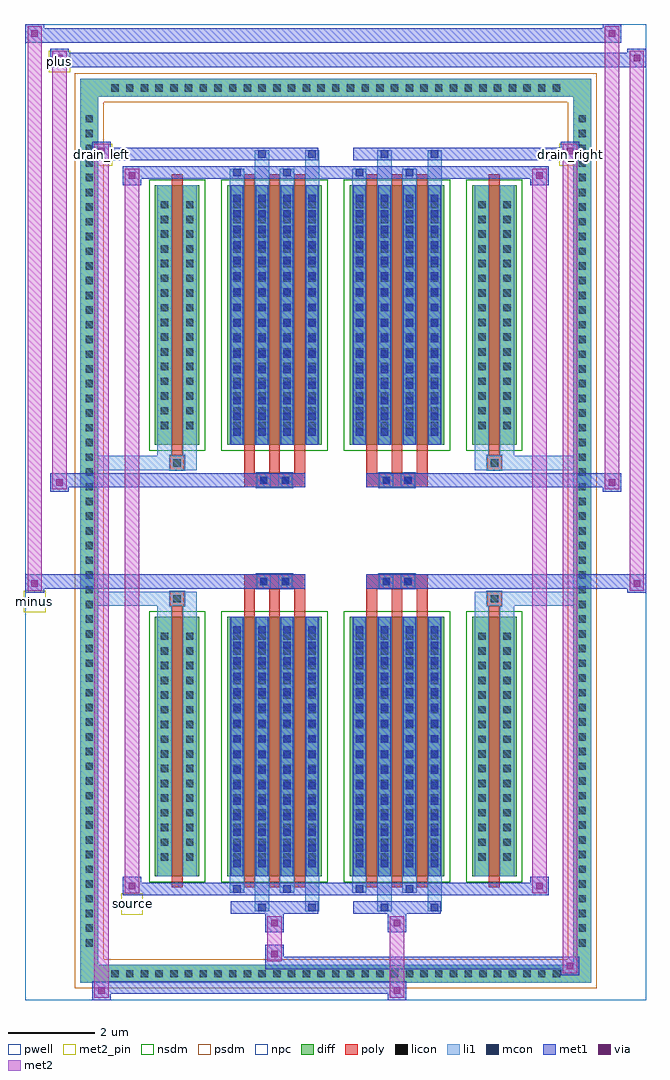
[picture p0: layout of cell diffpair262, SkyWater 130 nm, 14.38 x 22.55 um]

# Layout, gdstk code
import gdstk
lib = gdstk.Library(unit=1e-6, precision=5e-09)
def R(c, l, rs):  # rectangles x0, y0, x1, y1
    for r in rs: c.add(gdstk.rectangle(r[:2], r[2:], *l))
def A(c, l, x, y, w, h, nx, ny, dx, dy):  # array of equal rectangles
    R(c, l, [(x+i*dx, y+j*dy, x+i*dx+w, y+j*dy+h) for i in range(nx) for j in range(ny)])
def P(c, l, *ps):  # polygons
    for p in ps: c.add(gdstk.Polygon(p, *l))
pwell = (64, 44)
diff = (65, 20)
poly = (66, 20)
licon = (66, 44)
li1 = (67, 20)
mcon = (67, 44)
met1 = (68, 20)
via = (68, 44)
met2_pin = (69, 16)
met2 = (69, 20)
nsdm = (93, 44)
psdm = (94, 20)
npc = (95, 20)

diffpair262 = lib.new_cell('diffpair262')
R(diffpair262, pwell, [(-7.17,-10.84,7.17,11.71), (-4.49,-9.03,-0.01,-0.805), (0.01,-9.03,4.49,-0.805), (-4.49,0.805,-0.01,9.03), (0.01,0.805,4.49,9.03)])
A(diffpair262, diff, -5.305, -10.44, 0.41, 0.41, 31, 2, 0.34, 20.47)
A(diffpair262, diff, -5.9, -9.725, 0.41, 0.41, 1, 57, 0, 0.34)
A(diffpair262, diff, 5.49, -9.725, 0.41, 0.41, 1, 57, 0, 0.34)
R(diffpair262, diff, [(-5.305,-10.44,5.305,-10.03), (-5.9,-9.725,-5.49,9.725), (5.49,-9.725,5.9,9.725), (-4.18,-7.985,-3.15,-1.985), (-2.51,-7.985,-0.32,-1.985), (0.32,-7.985,2.51,-1.985), (3.15,-7.985,4.18,-1.985), (-4.18,1.985,-3.15,7.985), (-2.51,1.985,-0.32,7.985), (0.32,1.985,2.51,7.985), (3.15,1.985,4.18,7.985), (-5.305,10.03,5.305,10.44)])
P(diffpair262, diff, [(5.9,10.44),(-5.9,10.44),(-5.9,-10.03),(-5.49,-10.03),(-5.49,10.03),(5.49,10.03),(5.49,-10.03),(-5.49,-10.03),(-5.9,-10.03),(-5.9,-10.44),(5.9,-10.44)])
A(diffpair262, poly, -2.12, -8.235, 0.25, 6.5, 3, 2, 0.58, 9.97)
A(diffpair262, poly, 0.71, -8.235, 0.25, 6.5, 3, 2, 0.58, 9.97)
A(diffpair262, poly, -2.12, -1.735, 0.25, 0.4, 3, 2, 0.58, 3.07)
A(diffpair262, poly, 0.71, -1.735, 0.25, 0.4, 3, 2, 0.58, 3.07)
R(diffpair262, poly, [(-3.79,-8.235,-3.54,-1.735), (3.54,-8.235,3.79,-1.735), (-3.83,-1.735,-3.5,-1.405), (-3.83,-1.735,-3.5,-1.405), (3.5,-1.735,3.83,-1.405), (3.5,-1.735,3.83,-1.405), (-2.12,-1.335,-0.71,-1.005), (-1.83,-1.335,-1.5,-1.005), (-1.33,-1.335,-1,-1.005), (0.71,-1.335,2.12,-1.005), (1,-1.335,1.33,-1.005), (1.5,-1.335,1.83,-1.005), (-2.12,1.005,-0.71,1.335), (-1.83,1.005,-1.5,1.335), (-1.33,1.005,-1,1.335), (0.71,1.005,2.12,1.335), (1,1.005,1.33,1.335), (1.5,1.005,1.83,1.335), (-3.83,1.405,-3.5,1.735), (-3.83,1.405,-3.5,1.735), (3.5,1.405,3.83,1.735), (3.5,1.405,3.83,1.735), (-3.79,1.735,-3.54,8.235), (3.54,1.735,3.79,8.235)])
A(diffpair262, licon, -5.185, -10.32, 0.17, 0.17, 31, 2, 0.34, 20.47)
A(diffpair262, licon, -5.78, -9.605, 0.17, 0.17, 1, 57, 0, 0.34)
A(diffpair262, licon, 5.61, -9.605, 0.17, 0.17, 1, 57, 0, 0.34)
A(diffpair262, licon, -4.04, -7.62, 0.17, 0.17, 1, 16, 0, 0.34)
A(diffpair262, licon, -3.46, -7.62, 0.17, 0.17, 1, 16, 0, 0.34)
A(diffpair262, licon, -2.37, -7.62, 0.17, 0.17, 4, 16, 0.58, 0.34)
A(diffpair262, licon, 0.46, -7.62, 0.17, 0.17, 4, 16, 0.58, 0.34)
A(diffpair262, licon, 3.29, -7.62, 0.17, 0.17, 1, 16, 0, 0.34)
A(diffpair262, licon, 3.87, -7.62, 0.17, 0.17, 1, 16, 0, 0.34)
A(diffpair262, licon, -4.04, 2.35, 0.17, 0.17, 1, 16, 0, 0.34)
A(diffpair262, licon, -3.46, 2.35, 0.17, 0.17, 1, 16, 0, 0.34)
A(diffpair262, licon, -2.37, 2.35, 0.17, 0.17, 4, 16, 0.58, 0.34)
A(diffpair262, licon, 0.46, 2.35, 0.17, 0.17, 4, 16, 0.58, 0.34)
A(diffpair262, licon, 3.29, 2.35, 0.17, 0.17, 1, 16, 0, 0.34)
A(diffpair262, licon, 3.87, 2.35, 0.17, 0.17, 1, 16, 0, 0.34)
R(diffpair262, licon, [(-3.75,-1.655,-3.58,-1.485), (3.58,-1.655,3.75,-1.485), (-1.75,-1.255,-1.58,-1.085), (-1.25,-1.255,-1.08,-1.085), (1.08,-1.255,1.25,-1.085), (1.58,-1.255,1.75,-1.085), (-1.75,1.085,-1.58,1.255), (-1.25,1.085,-1.08,1.255), (1.08,1.085,1.25,1.255), (1.58,1.085,1.75,1.255), (-3.75,1.485,-3.58,1.655), (3.58,1.485,3.75,1.655)])
A(diffpair262, li1, -5.265, -10.4, 0.33, 0.33, 31, 2, 0.34, 20.47)
A(diffpair262, li1, -5.86, -9.685, 0.33, 0.33, 1, 57, 0, 0.34)
A(diffpair262, li1, 5.53, -9.685, 0.33, 0.33, 1, 57, 0, 0.34)
A(diffpair262, li1, -2.45, -7.985, 0.33, 6, 4, 2, 0.58, 9.97)
A(diffpair262, li1, 0.38, -7.985, 0.33, 6, 4, 2, 0.58, 9.97)
A(diffpair262, li1, -2.37, -7.77, 0.17, 0.17, 4, 16, 0.58, 0.36)
A(diffpair262, li1, -2.37, -7.77, 0.17, 5.57, 4, 2, 0.58, 9.97)
A(diffpair262, li1, 0.46, -7.77, 0.17, 0.17, 4, 16, 0.58, 0.36)
A(diffpair262, li1, 0.46, -7.77, 0.17, 5.57, 4, 2, 0.58, 9.97)
A(diffpair262, li1, -4.12, -7.7, 0.33, 0.33, 1, 16, 0, 0.34)
A(diffpair262, li1, -3.54, -7.7, 0.33, 0.33, 1, 16, 0, 0.34)
A(diffpair262, li1, -2.45, -7.7, 0.33, 0.33, 4, 16, 0.58, 0.34)
A(diffpair262, li1, 0.38, -7.7, 0.33, 0.33, 4, 16, 0.58, 0.34)
A(diffpair262, li1, 3.21, -7.7, 0.33, 0.33, 1, 16, 0, 0.34)
A(diffpair262, li1, 3.79, -7.7, 0.33, 0.33, 1, 16, 0, 0.34)
A(diffpair262, li1, -2.37, 2.2, 0.17, 0.17, 4, 16, 0.58, 0.36)
A(diffpair262, li1, 0.46, 2.2, 0.17, 0.17, 4, 16, 0.58, 0.36)
A(diffpair262, li1, -4.12, 2.27, 0.33, 0.33, 1, 16, 0, 0.34)
A(diffpair262, li1, -3.54, 2.27, 0.33, 0.33, 1, 16, 0, 0.34)
A(diffpair262, li1, -2.45, 2.27, 0.33, 0.33, 4, 16, 0.58, 0.34)
A(diffpair262, li1, 0.38, 2.27, 0.33, 0.33, 4, 16, 0.58, 0.34)
A(diffpair262, li1, 3.21, 2.27, 0.33, 0.33, 1, 16, 0, 0.34)
A(diffpair262, li1, 3.79, 2.27, 0.33, 0.33, 1, 16, 0, 0.34)
R(diffpair262, li1, [(-5.9,-10.44,-5.49,-10.03), (-5.9,-10.44,-5.49,-10.03), (-5.49,-10.44,5.49,-10.03), (5.49,-10.44,5.9,-10.03), (5.49,-10.44,5.9,-10.03), (-5.9,-10.03,-5.49,10.03), (5.49,-10.03,5.9,10.03), (-1.87,-8.79,-1.54,-7.985), (-1.79,-8.79,-1.62,-8.62), (-0.71,-8.79,-0.38,-7.985), (-0.63,-8.79,-0.46,-8.62), (0.96,-8.79,1.29,-7.985), (1.04,-8.79,1.21,-8.62), (2.12,-8.79,2.45,-7.985), (2.2,-8.79,2.37,-8.62), (-2.45,-8.36,-2.12,-7.985), (-2.37,-8.36,-2.2,-8.19), (-1.29,-8.36,-0.96,-7.985), (-1.21,-8.36,-1.04,-8.19), (0.38,-8.36,0.71,-7.985), (0.46,-8.36,0.63,-8.19), (1.54,-8.36,1.87,-7.985), (1.62,-8.36,1.79,-8.19), (-4.12,-7.985,-3.79,-1.985), (-3.54,-7.985,-3.21,-1.985), (3.21,-7.985,3.54,-1.985), (3.79,-7.985,4.12,-1.985), (-4.12,-1.985,-3.79,-1.405), (-3.54,-1.985,-3.21,-1.405), (3.21,-1.985,3.54,-1.405), (3.79,-1.985,4.12,-1.405), (-5.9,-1.735,-3.83,-1.405), (-4.12,-1.735,-3.83,-1.405), (-3.83,-1.735,-3.5,-1.405), (-3.5,-1.735,-3.21,-1.405), (3.21,-1.735,3.5,-1.405), (3.5,-1.735,3.83,-1.405), (3.5,-1.735,5.9,-1.405), (3.83,-1.735,4.12,-1.405), (-1.83,-1.335,-1.5,-1.005), (-1.33,-1.335,-1,-1.005), (1,-1.335,1.33,-1.005), (1.5,-1.335,1.83,-1.005), (-1.83,1.005,-1.5,1.335), (-1.33,1.005,-1,1.335), (1,1.005,1.33,1.335), (1.5,1.005,1.83,1.335), (-5.9,1.405,-3.83,1.735), (-4.12,1.405,-3.83,1.735), (-4.12,1.405,-3.79,1.985), (-3.83,1.405,-3.5,1.735), (-3.54,1.405,-3.21,1.985), (-3.5,1.405,-3.21,1.735), (3.21,1.405,3.5,1.735), (3.21,1.405,3.54,1.985), (3.5,1.405,3.83,1.735), (3.5,1.405,5.9,1.735), (3.79,1.405,4.12,1.985), (3.83,1.405,4.12,1.735), (-4.12,1.985,-3.79,7.985), (-3.54,1.985,-3.21,7.985), (3.21,1.985,3.54,7.985), (3.79,1.985,4.12,7.985), (-2.45,7.985,-2.12,8.36), (-1.87,7.985,-1.54,8.79), (-1.29,7.985,-0.96,8.36), (-0.71,7.985,-0.38,8.79), (0.38,7.985,0.71,8.36), (0.96,7.985,1.29,8.79), (1.54,7.985,1.87,8.36), (2.12,7.985,2.45,8.79), (-2.37,8.19,-2.2,8.36), (-1.21,8.19,-1.04,8.36), (0.46,8.19,0.63,8.36), (1.62,8.19,1.79,8.36), (-1.79,8.62,-1.62,8.79), (-0.63,8.62,-0.46,8.79), (1.04,8.62,1.21,8.79), (2.2,8.62,2.37,8.79), (-5.9,10.03,-5.49,10.44), (-5.9,10.03,-5.49,10.44), (-5.49,10.03,5.49,10.44), (5.49,10.03,5.9,10.44), (5.49,10.03,5.9,10.44)])
A(diffpair262, mcon, -2.37, -7.77, 0.17, 0.17, 4, 16, 0.58, 0.36)
A(diffpair262, mcon, 0.46, -7.77, 0.17, 0.17, 4, 16, 0.58, 0.36)
A(diffpair262, mcon, -2.37, 2.2, 0.17, 0.17, 4, 16, 0.58, 0.36)
A(diffpair262, mcon, 0.46, 2.2, 0.17, 0.17, 4, 16, 0.58, 0.36)
R(diffpair262, mcon, [(-1.79,-8.79,-1.62,-8.62), (-0.63,-8.79,-0.46,-8.62), (1.04,-8.79,1.21,-8.62), (2.2,-8.79,2.37,-8.62), (-2.37,-8.36,-2.2,-8.19), (-1.21,-8.36,-1.04,-8.19), (0.46,-8.36,0.63,-8.19), (1.62,-8.36,1.79,-8.19), (-1.75,-1.255,-1.58,-1.085), (-1.25,-1.255,-1.08,-1.085), (1.08,-1.255,1.25,-1.085), (1.58,-1.255,1.75,-1.085), (-1.75,1.085,-1.58,1.255), (-1.25,1.085,-1.08,1.255), (1.08,1.085,1.25,1.255), (1.58,1.085,1.75,1.255), (-2.37,8.19,-2.2,8.36), (-1.21,8.19,-1.04,8.36), (0.46,8.19,0.63,8.36), (1.62,8.19,1.79,8.36), (-1.79,8.62,-1.62,8.79), (-0.63,8.62,-0.46,8.79), (1.04,8.62,1.21,8.79), (2.2,8.62,2.37,8.79)])
A(diffpair262, met1, -2.43, -7.985, 0.29, 6, 4, 2, 0.58, 9.97)
A(diffpair262, met1, 0.4, -7.985, 0.29, 6, 4, 2, 0.58, 9.97)
A(diffpair262, met1, -2.43, -7.83, 0.29, 0.29, 4, 16, 0.58, 0.36)
A(diffpair262, met1, 0.4, -7.83, 0.29, 0.29, 4, 16, 0.58, 0.36)
A(diffpair262, met1, -2.43, 2.14, 0.29, 0.29, 4, 16, 0.58, 0.36)
A(diffpair262, met1, 0.4, 2.14, 0.29, 0.29, 4, 16, 0.58, 0.36)
R(diffpair262, met1, [(-5.63,-10.84,-5.2,-10.41), (1.2,-10.84,1.63,-10.41), (-5.63,-10.7,1.63,-10.41), (5.2,-10.27,5.63,-9.84), (-1.63,-10.13,5.63,-9.84), (-1.63,-9.99,-1.2,-9.56), (-1.63,-9.28,-1.2,-8.85), (1.2,-9.28,1.63,-8.85), (-2.43,-8.85,-0.4,-8.56), (-1.85,-8.85,-1.56,-8.56), (-0.69,-8.85,-0.4,-8.56), (0.4,-8.85,2.43,-8.56), (0.98,-8.85,1.27,-8.56), (2.14,-8.85,2.43,-8.56), (-4.92,-8.42,-4.49,-7.99), (-4.92,-8.42,-2.43,-8.13), (-2.43,-8.42,-2.14,-8.13), (-2.43,-8.42,-0.4,-8.13), (-1.27,-8.42,-0.98,-8.13), (-0.4,-8.42,0.4,-8.13), (0.4,-8.42,0.69,-8.13), (0.4,-8.42,2.43,-8.13), (1.56,-8.42,1.85,-8.13), (2.43,-8.42,4.92,-8.13), (4.49,-8.42,4.92,-7.99), (-7.17,-1.435,-6.74,-1.005), (6.74,-1.435,7.17,-1.005), (-7.17,-1.335,-0.71,-1.005), (-2.12,-1.335,-0.71,-1.005), (0.71,-1.335,2.12,-1.005), (0.71,-1.335,7.17,-1.005), (-1.81,-1.315,-1.52,-1.025), (-1.31,-1.315,-1.02,-1.025), (1.02,-1.315,1.31,-1.025), (1.52,-1.315,1.81,-1.025), (-6.6,0.905,-6.17,1.335), (6.17,0.905,6.6,1.335), (-6.6,1.005,-2.12,1.335), (-2.12,1.005,-0.71,1.335), (0.71,1.005,2.12,1.335), (2.12,1.005,6.6,1.335), (-1.81,1.025,-1.52,1.315), (-1.31,1.025,-1.02,1.315), (1.02,1.025,1.31,1.315), (1.52,1.025,1.81,1.315), (-4.92,7.99,-4.49,8.42), (4.49,7.99,4.92,8.42), (-4.92,8.13,-2.43,8.42), (-2.43,8.13,-2.14,8.42), (-2.43,8.13,-0.4,8.42), (-1.27,8.13,-0.98,8.42), (-0.4,8.13,0.4,8.42), (0.4,8.13,0.69,8.42), (0.4,8.13,2.43,8.42), (1.56,8.13,1.85,8.42), (2.43,8.13,4.92,8.42), (-5.63,8.56,-5.2,8.99), (-5.63,8.56,-2.43,8.85), (-2.43,8.56,-0.4,8.85), (-1.85,8.56,-1.56,8.85), (-0.69,8.56,-0.4,8.85), (0.4,8.56,2.43,8.85), (0.98,8.56,1.27,8.85), (2.14,8.56,2.43,8.85), (2.43,8.56,5.63,8.85), (5.2,8.56,5.63,8.99), (-6.6,10.71,-6.17,11.14), (-6.6,10.71,-4.49,11.04), (-4.49,10.71,4.49,11.04), (4.49,10.71,7.17,11.04), (6.74,10.71,7.17,11.14), (-7.17,11.28,-6.74,11.71), (-7.17,11.28,-4.49,11.61), (-4.49,11.28,4.49,11.61), (4.49,11.28,6.6,11.61), (6.17,11.28,6.6,11.71)])
R(diffpair262, via, [(-5.49,-10.7,-5.34,-10.55), (1.34,-10.7,1.49,-10.55), (5.34,-10.13,5.49,-9.98), (-1.49,-9.85,-1.34,-9.7), (-1.49,-9.14,-1.34,-8.99), (1.34,-9.14,1.49,-8.99), (-4.78,-8.28,-4.63,-8.13), (4.63,-8.28,4.78,-8.13), (-7.03,-1.295,-6.88,-1.145), (6.88,-1.295,7.03,-1.145), (-6.46,1.045,-6.31,1.195), (6.31,1.045,6.46,1.195), (-4.78,8.13,-4.63,8.28), (4.63,8.13,4.78,8.28), (-5.49,8.7,-5.34,8.85), (5.34,8.7,5.49,8.85), (-6.46,10.85,-6.31,11), (6.88,10.85,7.03,11), (-7.03,11.42,-6.88,11.57), (6.31,11.42,6.46,11.57)])
R(diffpair262, met2_pin, [(-4.955,-8.87,-4.455,-8.37), (-7.205,-1.885,-6.705,-1.385), (-5.665,8.44,-5.165,8.94), (5.165,8.44,5.665,8.94), (-6.635,10.59,-6.135,11.09)])
R(diffpair262, met2, [(-5.58,-10.79,-5.25,-10.46), (-5.58,-10.79,-5.25,8.94), (1.25,-10.79,1.58,-10.46), (1.25,-10.46,1.58,-9.23), (5.25,-10.22,5.58,-9.89), (5.25,-10.22,5.58,8.94), (-1.58,-9.94,-1.25,-9.61), (-1.58,-9.61,-1.25,-9.23), (-1.58,-9.23,-1.25,-8.9), (1.25,-9.23,1.58,-8.9), (-4.87,-8.37,-4.54,-8.04), (-4.87,-8.37,-4.54,8.37), (4.54,-8.37,4.87,-8.04), (4.54,-8.37,4.87,8.37), (-7.12,-1.385,-6.79,-1.055), (-7.12,-1.385,-6.79,11.66), (6.79,-1.385,7.12,-1.055), (6.79,-1.385,7.12,11.09), (-6.55,0.955,-6.22,1.285), (-6.55,0.955,-6.22,11.09), (6.22,0.955,6.55,1.285), (6.22,0.955,6.55,11.66), (-4.87,8.04,-4.54,8.37), (4.54,8.04,4.87,8.37), (-5.58,8.61,-5.25,8.94), (5.25,8.61,5.58,8.94), (-6.55,10.76,-6.22,11.09), (6.79,10.76,7.12,11.09), (-7.12,11.33,-6.79,11.66), (6.22,11.33,6.55,11.66)])
P(diffpair262, met2, [(7.12,-1.385),(7.12,-1.385),(7.12,-1.055),(7.12,-1.055)],
  [(7.12,10.76),(7.12,10.76),(7.12,11.09),(7.12,11.09)],
  [(-6.79,-1.385),(-6.79,-1.385),(-6.79,-1.055),(-6.79,-1.055)],
  [(-6.79,11.33),(-6.79,11.33),(-6.79,11.66),(-6.79,11.66)],
  [(6.55,0.955),(6.55,0.955),(6.55,1.285),(6.55,1.285)],
  [(6.55,11.33),(6.55,11.33),(6.55,11.66),(6.55,11.66)],
  [(-6.22,0.955),(-6.22,0.955),(-6.22,1.285),(-6.22,1.285)],
  [(-6.22,10.76),(-6.22,10.76),(-6.22,11.09),(-6.22,11.09)],
  [(-5.25,-10.79),(-5.25,-10.79),(-5.25,-10.46),(-5.25,-10.46)],
  [(-5.25,8.61),(-5.25,8.61),(-5.25,8.94),(-5.25,8.94)],
  [(5.58,-10.22),(5.58,-10.22),(5.58,-9.89),(5.58,-9.89)],
  [(5.58,8.61),(5.58,8.61),(5.58,8.94),(5.58,8.94)],
  [(-4.54,-8.37),(-4.54,-8.37),(-4.54,-8.04),(-4.54,-8.04)],
  [(-4.54,8.04),(-4.54,8.04),(-4.54,8.37),(-4.54,8.37)],
  [(4.87,-8.37),(4.87,-8.37),(4.87,-8.04),(4.87,-8.04)],
  [(4.87,8.04),(4.87,8.04),(4.87,8.37),(4.87,8.37)])
R(diffpair262, nsdm, [(-4.31,-8.115,-3.02,-1.855), (-2.64,-8.115,-0.19,-1.855), (0.19,-8.115,2.64,-1.855), (3.02,-8.115,4.31,-1.855), (-4.31,1.855,-3.02,8.115), (-2.64,1.855,-0.19,8.115), (0.19,1.855,2.64,8.115), (3.02,1.855,4.31,8.115)])
P(diffpair262, psdm, [(6.03,10.57),(-6.03,10.57),(-6.03,-9.9),(-5.36,-9.9),(-5.36,9.9),(5.36,9.9),(5.36,-9.9),(-5.36,-9.9),(-6.03,-9.9),(-6.03,-10.57),(6.03,-10.57)])
R(diffpair262, npc, [(-3.85,-1.755,-3.48,-1.385), (3.48,-1.755,3.85,-1.385), (-1.85,-1.355,-1.48,-0.985), (-1.85,-1.355,-0.98,-0.985), (-1.85,-1.355,-0.98,-0.985), (-1.35,-1.355,-0.98,-0.985), (0.98,-1.355,1.35,-0.985), (0.98,-1.355,1.85,-0.985), (0.98,-1.355,1.85,-0.985), (1.48,-1.355,1.85,-0.985), (-1.85,0.985,-1.48,1.355), (-1.85,0.985,-0.98,1.355), (-1.85,0.985,-0.98,1.355), (-1.35,0.985,-0.98,1.355), (0.98,0.985,1.35,1.355), (0.98,0.985,1.85,1.355), (0.98,0.985,1.85,1.355), (1.48,0.985,1.85,1.355), (-3.85,1.385,-3.48,1.755), (3.48,1.385,3.85,1.755)])
diffpair262.add(gdstk.Label('minus', (-6.955,-1.635), layer=69, texttype=5))
diffpair262.add(gdstk.Label('drain_right', (5.415,8.69), layer=69, texttype=5))
diffpair262.add(gdstk.Label('drain_left', (-5.415,8.69), layer=69, texttype=5))
diffpair262.add(gdstk.Label('source', (-4.705,-8.62), layer=69, texttype=5))
diffpair262.add(gdstk.Label('plus', (-6.385,10.84), layer=69, texttype=5))

lib.write_gds('diffpair262.gds')
